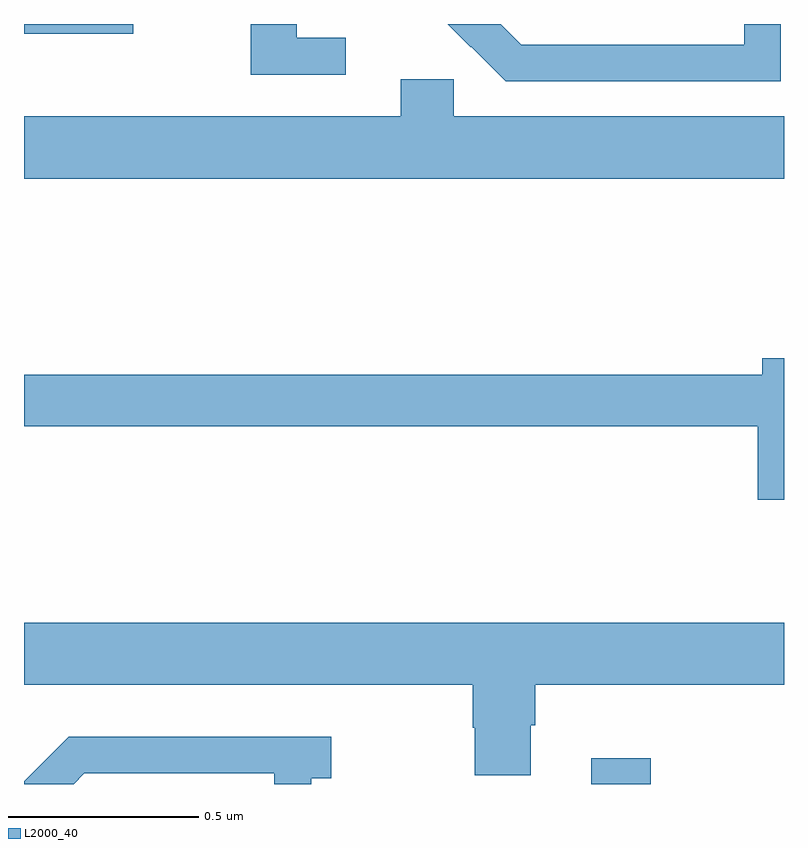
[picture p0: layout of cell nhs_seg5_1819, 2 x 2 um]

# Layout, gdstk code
import gdstk
lib = gdstk.Library(unit=1e-6, precision=1e-09)
def R(c, l, rs):  # rectangles x0, y0, x1, y1
    for r in rs: c.add(gdstk.rectangle(r[:2], r[2:], *l))
def P(c, l, *ps):  # polygons
    for p in ps: c.add(gdstk.Polygon(p, *l))
L2000_40 = (2000, 40)

nhs_seg5_1819 = lib.new_cell('nhs_seg5_1819')
R(nhs_seg5_1819, L2000_40, [(136.493,889.799,136.649,889.867)])
P(nhs_seg5_1819, L2000_40, [(135.287,891.799),(135,891.799),(135,891.774),(135.054,891.774),(135.054,891.773),(135.287,891.773)],
  [(135.847,891.763),(135.718,891.763),(135.718,891.799),(135.597,891.799),(135.597,891.666),(135.847,891.666)],
  [(136.992,891.799),(136.895,891.799),(136.895,891.744),(136.411,891.744),(136.411,891.745),(136.308,891.745),(136.254,891.799),(136.115,891.799),(136.176,891.738),(136.177,891.739),(136.268,891.648),(136.992,891.648)],
  [(137,891.556),(136.131,891.556),(136.131,891.654),(135.992,891.654),(135.992,891.556),(135,891.556),(135,891.392),(137,891.392)],
  [(137,890.92),(136.943,890.92),(136.943,890.876),(135,890.876),(135,890.74),(136.931,890.74),(136.931,890.547),(137,890.547)],
  [(136.333,889.954),(136.346,889.954),(136.346,890.06),(137,890.06),(137,890.224),(135,890.224),(135,890.06),(136.181,890.06),(136.181,889.947),(136.186,889.947),(136.186,889.822),(136.333,889.822)],
  [(135.159,889.827),(135.659,889.827),(135.659,889.799),(135.756,889.799),(135.756,889.814),(135.808,889.814),(135.808,889.924),(135.118,889.924),(135,889.806),(135,889.799),(135.131,889.799)])

lib.write_gds('nhs_seg5_1819.gds')
